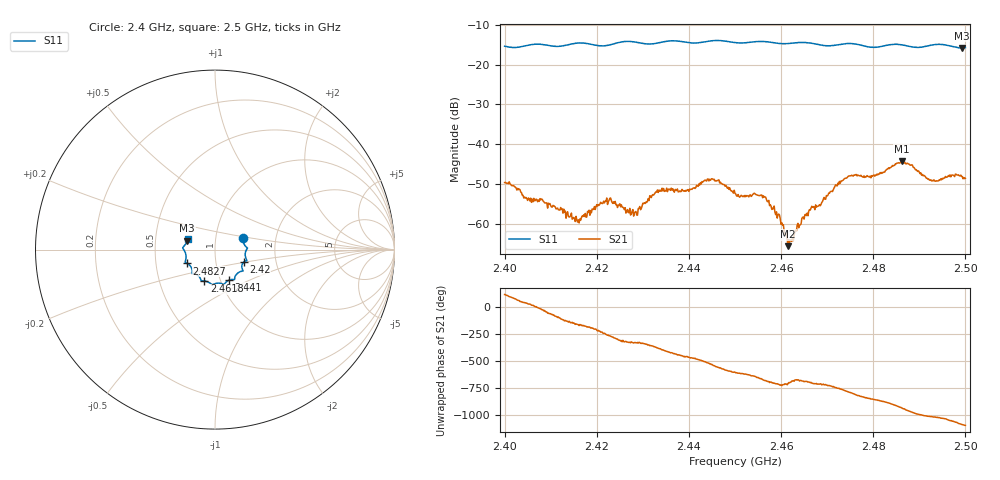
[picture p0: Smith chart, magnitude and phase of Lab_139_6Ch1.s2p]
# Hz S RI R 50
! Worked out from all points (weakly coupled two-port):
!   601 points, 2.4 GHz to 2.5 GHz, reference 50 ohm
!   highest |S21| = -44.33 dB at 2.4862 GHz (marker M1); lowest = -65.6 dB at 2.4615 GHz (marker M2)
!   lowest |S11| = -15.8 dB at 2.4992 GHz (marker M3), VSWR 1.39, Z = 36.4 + j3.66 ohm
!   |S11| at or under -10 dB: start of sweep to end of sweep
!   S12 and S22 are empty: the file has one direction only
!   S11 on the Smith chart (normalised r, x): 2.4 GHz: 1.36, +0.18; 2.42 GHz: 1.36, -0.20; 2.441 GHz: 1.10, -0.39; 2.4618 GHz: 0.84, -0.30; 2.4827 GHz: 0.72, -0.12; 2.5 GHz: 0.73, +0.09
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2.4e9  0.1586 0.063  -0.00155 0.00291  0 0  0 0
2.404667e9  0.1729 0.0154  0.00164 0.00137  0 0  0 0
2.416667e9  0.1772 -0.061  -0.00117 -0.000207  0 0  0 0
2.42e9  0.1597 -0.0703  -0.00146 0.00094  0 0  0 0
2.422667e9  0.1492 -0.0942  -0.00015 0.00197  0 0  0 0
2.4285e9  0.1496 -0.1203  0.00124 0.000704  0 0  0 0
2.433333e9  0.1115 -0.1507  0.00229 -0.000921  0 0  0 0
2.441e9  0.0788 -0.1696  -0.0011 -0.00259  0 0  0 0
2.445e9  0.0521 -0.1929  -0.00365 -0.000511  0 0  0 0
2.45e9  0.0285 -0.1874  -0.00107 0.00217  0 0  0 0
2.456167e9  -0.0166 -0.1948  0.00164 0.00153  0 0  0 0
2.459833e9  -0.0398 -0.1802  0.00113 -9.05e-05  0 0  0 0
2.4615e9  -0.0559 -0.1756  0.000514 9.11e-05  0 0  0 0
2.461833e9  -0.0592 -0.1755  0.000552 0.000181  0 0  0 0
2.466667e9  -0.0788 -0.1682  0.00161 0.000415  0 0  0 0
2.4745e9  -0.1267 -0.1341  0.00156 -0.00358  0 0  0 0
2.482667e9  -0.1559 -0.0773  -0.00442 -0.00153  0 0  0 0
2.483333e9  -0.1604 -0.0753  -0.00496 -0.000924  0 0  0 0
2.486167e9  -0.165 -0.0658  -0.00495 0.00351  0 0  0 0
2.4925e9  -0.1755 0.00172  0.00161 0.00318  0 0  0 0
2.499167e9  -0.1549 0.0489  0.00388 -0.000579  0 0  0 0
2.5e9  -0.1523 0.0606  0.00352 -0.00122  0 0  0 0
